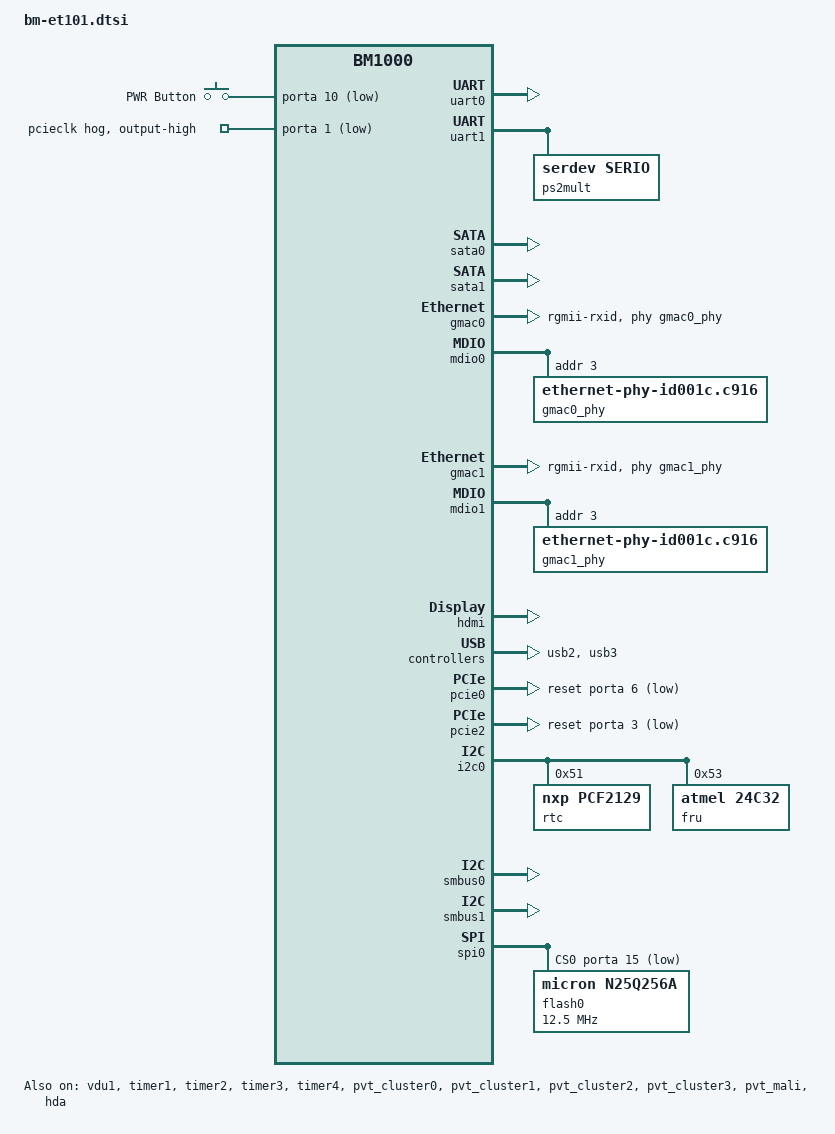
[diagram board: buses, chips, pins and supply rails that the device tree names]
// SPDX-License-Identifier: GPL-2.0
/*
 * Baikal-M ET101 common device tree
 */

#include "bm1000.dtsi"
#include <dt-bindings/net/realtek-phy-rtl8211f.h>
#include <dt-bindings/input/gpio-keys.h>
#include <dt-bindings/input/linux-event-codes.h>

/ {

	compatible = "baikal,baikal-m";
	#address-cells = <2>;
	#size-cells = <2>;

	aliases {
		ethernet0 = &gmac0;
		ethernet1 = &gmac1;
		fru = &fru;
	};

	chosen { };

	gpio-keys {
		compatible = "gpio-keys";
		pwr {
			label = "PWR Button";
			linux,code = <116>;
			gpios = <&porta 10 GPIO_ACTIVE_LOW>;
			wakeup-source;
			wakeup-event-action = <EV_ACT_DEASSERTED>;
		};
	};
};

&uart0 {
	status = "okay";
};

&uart1 {
	status = "okay";

	ps2mult {
		compatible = "serdev,serio";
		current-speed = <115200>;
		protocol = <0x3c>; /* SERIO_PS2MULT */
	};
};

&sata0 {
	status = "okay";
};

&sata1 {
	status = "okay";
};

&gmac0 {
	status = "okay";
	snps,reset-gpios = <&porta 19 GPIO_ACTIVE_LOW>;
	snps,reset-delays-us = <10>, <10000>, <50000>;
	clk_csr = <0x3>;
	phy-mode = "rgmii-rxid";
	phy-handle = <&gmac0_phy>;
};

&mdio0 {
	gmac0_phy: ethernet-phy@3 {
		compatible = "ethernet-phy-id001c.c916", "ethernet-phy-ieee802.3-c22";
		reg = <0x3>;
		realtek,led-mode = <RTL8211F_LED_MODE_B>;
		realtek,led0-control = <RTL8211F_LINK10_1000_ACT>;
		realtek,led1-control = <RTL8211F_LINK100_1000>;
	};
};

&gmac1 {
	status = "okay";
	snps,reset-gpios = <&porta 20 GPIO_ACTIVE_LOW>;
	snps,reset-delays-us = <10>, <10000>, <50000>;
	clk_csr = <0x3>;
	phy-mode = "rgmii-rxid";
	phy-handle = <&gmac1_phy>;
};

&mdio1 {
	gmac1_phy: ethernet-phy@3 {
		compatible = "ethernet-phy-id001c.c916", "ethernet-phy-ieee802.3-c22";
		reg = <0x3>;
		realtek,led-mode = <RTL8211F_LED_MODE_B>;
		realtek,led0-control = <RTL8211F_LINK10_1000_ACT>;
		realtek,led1-control = <RTL8211F_LINK100_1000>;
	};
};

&hdmi {
	status = "okay";
};

&vdu1 {
	status = "okay";
};

&gpio32 {
	status = "okay";
};

&usb2 {
	status = "okay";
};

&usb3 {
	status = "okay";
};

&pcie0 {
	status = "okay";
	reset-gpios = <&porta 6 GPIO_ACTIVE_LOW>;
};

&pcie2 {
	status = "okay";
	reset-gpios = <&porta 3 GPIO_ACTIVE_LOW>;
};

&timer1 {
	status = "okay";
};

&timer2 {
	status = "okay";
};

&timer3 {
	status = "okay";
};

&timer4 {
	status = "okay";
};

&pvt_cluster0 {
	status = "okay";
};

&pvt_cluster1 {
	status = "okay";
};

&pvt_cluster2 {
	status = "okay";
};

&pvt_cluster3 {
	status = "okay";
};

&pvt_mali {
	status = "okay";
};

&i2c0 {
	status = "okay";

	rtc@51 {
		compatible = "nxp,pcf2129", "nxp,pcf2127";
		reg = <0x51>;
	};

	fru: eeprom@53 {
		compatible = "atmel,24c32";
		pagesize = <32>;
		reg = <0x53>;
	};
};

&smbus0 {
	status = "okay";
};

&smbus1 {
	status = "okay";
};

&spi0 {
	num-cs = <4>;

	cs-gpios = <&porta 15 GPIO_ACTIVE_LOW>, <0>;
	status = "okay";
	flash0: flash@0 {
		compatible = "micron,n25q256a", "jedec,spi-nor";
		reg = <0>;
		#address-cells = <1>;
		#size-cells = <1>;
		spi-max-frequency = <12500000>;
		status = "okay";

		/* Flash chip0 partitions */
		mtd0@0 {
			label = "bl1";
			reg = <0x00000000 0x00040000>;
			read-only;
		};

		mtd1@40000 {
			label = "fip";
			reg = <0x00040000 0x007c0000>;
		};

		mtd2@800000 {
			label = "rescue";
			reg = <0x00800000 0x01800000>;
		};
	};
};

&porta {
	pcieclk {
		line_name = "pcie-x8-clock";
		gpio-hog;
		gpios = <1 GPIO_ACTIVE_LOW>;
		output-high;
	};
};

&hda {
	status = "okay";
	patch-data = "[codec]\n\
0x10ec0262 0x10ec0262 0\n\
[model]\n\
et101\n\
[pincfg]\n\
0x14 0x01014030\n\
0x15 0x40000100\n\
0x16 0x40000100\n\
0x18 0x01a19850\n\
0x19 0x02a19c90\n\
0x1a 0x01813050\n\
0x1b 0x02214c40\n\
0x1c 0x99331150\n\
0x1d 0x00000100\n\
0x1e 0x01441170\n";
};
